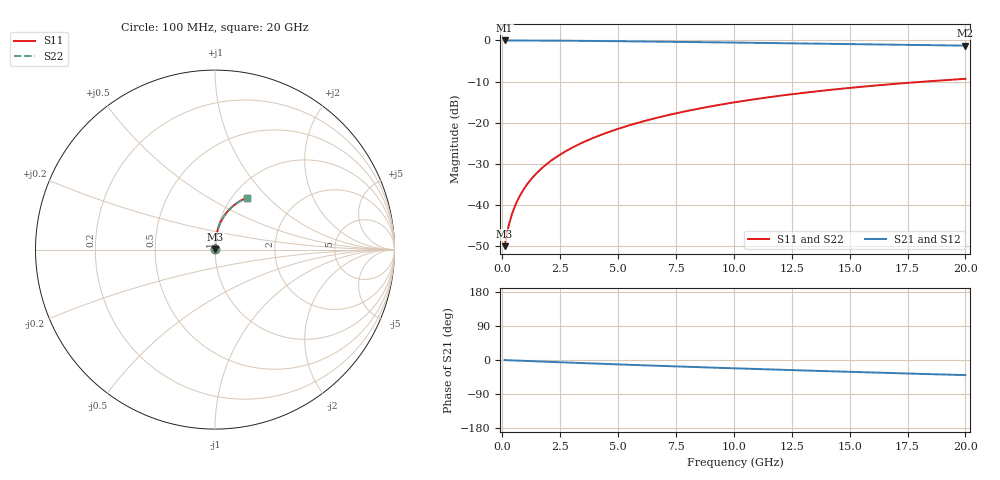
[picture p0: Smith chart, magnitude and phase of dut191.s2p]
! Touchstone file exported from HFSS 2024.1.0
!  File:  C:/UserFiles/LocalFiles/RDL_TSV_Batchsim/temp_RDL_bottom_191_1778699159.aedt
!  Generated:  03:08:25 AM May 14, 2026
!  Design:  RDL_bottom
!  Project:  temp_RDL_bottom_191_1778699159
!  Setup:  Setup1
!  Solution:  Sweep
! Variables:
!  dtsv = 10.80580581um
!  hbump = 3um
!  htsv = 56.59um
!  ldown = 601.03um
!  lrdl = 100um
!  p = 40
!  p1 = 44.53um
!  rhole = 1um
!  t = 450um
!  tdown = 4.12um
!  trdl = 3.915915916um
!  wdown = 21.49um
!  wrdl = 20um
# GHz S MA R 50.000000
! Terminal data exported
! Port[1] = RDL1_T1
! Port[2] = RDL1_T2
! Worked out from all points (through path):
!   200 points, 100 MHz to 20 GHz, reference 50 ohm
!   highest |S21| = -0.02 dB at 100 MHz (marker M1); lowest = -1.3 dB at 20 GHz (marker M2)
!   group delay of S21, straight-line fit = 5.49 ps
!   lowest |S11| = -50.0 dB at 100 MHz (marker M3), VSWR 1.01, Z = 50.3 + j0.184 ohm
!   |S11| at or under -10 dB: start of sweep to 18.27 GHz
!   |S22| runs from -50.0 to -9.3 dB; largest |S21 - S12| = 3e-15
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0.1  0.003169 35.2  0.9974 -0.3  0.9974 -0.3  0.003169 35.2
! Gamma 0 0 0 0
! Port Impedance 50 0 50 0
0.2  0.004501 52.5  0.9972 -0.5  0.9972 -0.5  0.004501 52.5
0.3  0.005975 61.1  0.997 -0.7  0.997 -0.7  0.005976 61.1
0.4  0.007473 66.2  0.9969 -1.0  0.9969 -1.0  0.007474 66.2
0.5  0.008981 69.7  0.9967 -1.2  0.9967 -1.2  0.008982 69.7
0.6  0.0105 72.3  0.9965 -1.5  0.9965 -1.5  0.0105 72.3
0.8  0.01359 75.9  0.9962 -1.9  0.9962 -1.9  0.01359 75.9
1.1  0.0183 79.2  0.9956 -2.7  0.9956 -2.7  0.0183 79.2
1.3  0.02148 80.5  0.9952 -3.1  0.9952 -3.1  0.02148 80.5
1.6  0.02631 81.9  0.9944 -3.8  0.9944 -3.8  0.02631 81.9
2.1  0.03447 83.3  0.9928 -5.0  0.9928 -5.0  0.03446 83.3
2.7  0.04442 84.1  0.9904 -6.4  0.9904 -6.4  0.04442 84.0
3.5  0.05799 84.4  0.9864 -8.3  0.9864 -8.3  0.05798 84.3
4.2  0.07013 84.2  0.9824 -9.9  0.9824 -9.9  0.07011 84.2
5  0.08429 83.7  0.9774 -11.6  0.9774 -11.6  0.08426 83.6
6.8  0.117 81.7  0.9648 -15.5  0.9648 -15.5  0.117 81.7
8.4  0.1467 79.3  0.9528 -18.7  0.9528 -18.7  0.1466 79.3
10.1  0.1782 76.4  0.9397 -22.1  0.9397 -22.1  0.1781 76.4
11.7  0.2074 73.5  0.9273 -25.2  0.9273 -25.2  0.2072 73.4
13.4  0.2375 70.3  0.9141 -28.3  0.9141 -28.3  0.2373 70.3
16.7  0.2922 64.2  0.8884 -34.2  0.8884 -34.2  0.2919 64.1
20  0.3412 58.2  0.8629 -39.9  0.8629 -39.9  0.3409 58.2
